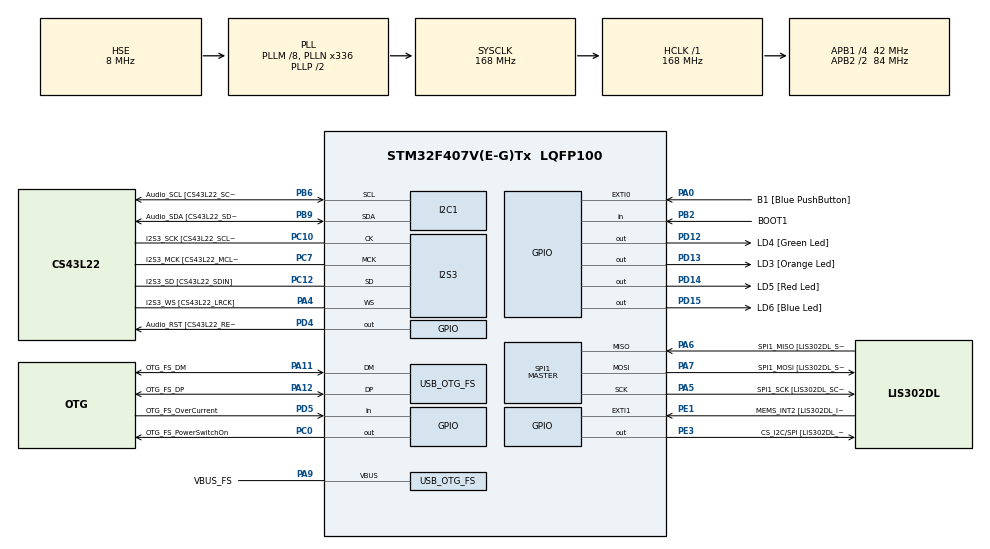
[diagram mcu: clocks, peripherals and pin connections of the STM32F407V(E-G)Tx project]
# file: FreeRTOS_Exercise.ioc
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FREERTOS.Tasks01=LEDBlinkingTask,0,128,StartLEDBlinkingTask,Default,NULL,Dynamic,NULL,NULL
I2S3.AudioFreq-Half_Duplex_Master=I2S_AUDIOFREQ_96K
I2S3.ErrorAudioFreq=-2.34 %
I2S3.ErrorAudioFreq-Half_Duplex_Master=0.8 %
I2S3.FullDuplexMode=I2S_FULLDUPLEXMODE_DISABLE
I2S3.Instance=SPI$Index
I2S3.RealAudioFreq=93.75 KHz
I2S3.RealAudioFreq-Half_Duplex_Master=96.774 KHz
I2S3.VirtualMode=I2S_MODE_MASTER
Mcu.Family=STM32F4
Mcu.Name=STM32F407V(E-G)Tx
Mcu.Package=LQFP100
NVIC.OTG_FS_IRQn=true\:5\:0\:false\:false\:true\:true\:true
NVIC.PriorityGroup=NVIC_PRIORITYGROUP_4
NVIC.TIM1_UP_TIM10_IRQn=true\:0\:0\:false\:false\:true\:false\:false
NVIC.TimeBase=TIM1_UP_TIM10_IRQn
NVIC.TimeBaseIP=TIM1
PA0-WKUP.GPIO_Label=B1 [Blue PushButton]
PA0-WKUP.GPIO_ModeDefaultEXTI=GPIO_MODE_EVT_RISING
PA0-WKUP.GPIO_PuPd=GPIO_NOPULL
PA0-WKUP.Signal=GPXTI0
PA10.GPIO_Label=OTG_FS_ID
PA10.GPIO_Mode=GPIO_MODE_AF_PP
PA10.GPIO_PuPd=GPIO_NOPULL
PA10.GPIO_Speed=GPIO_SPEED_FREQ_LOW
PA10.Signal=USB_OTG_FS_ID
PA11.GPIO_Label=OTG_FS_DM
PA11.GPIO_Mode=GPIO_MODE_AF_PP
PA11.GPIO_PuPd=GPIO_NOPULL
PA11.GPIO_Speed=GPIO_SPEED_FREQ_LOW
PA11.Mode=Host_Only
PA11.Signal=USB_OTG_FS_DM
PA12.GPIO_Label=OTG_FS_DP
PA12.GPIO_Mode=GPIO_MODE_AF_PP
PA12.GPIO_PuPd=GPIO_NOPULL
PA12.GPIO_Speed=GPIO_SPEED_FREQ_LOW
PA12.Mode=Host_Only
PA12.Signal=USB_OTG_FS_DP
PA13.GPIO_Label=SWDIO
PA13.Mode=Serial_Wire
PA13.Signal=SYS_JTMS-SWDIO
PA14.GPIO_Label=SWCLK
PA14.Mode=Serial_Wire
PA14.Signal=SYS_JTCK-SWCLK
PA4.GPIO_Label=I2S3_WS [CS43L22_LRCK]
PA4.GPIO_Mode=GPIO_MODE_AF_PP
PA4.GPIO_PuPd=GPIO_NOPULL
PA4.GPIO_Speed=GPIO_SPEED_FREQ_LOW
PA4.Mode=Half_Duplex_Master
PA4.Signal=I2S3_WS
PA5.GPIO_Label=SPI1_SCK [LIS302DL_SCL/SPC]
PA5.GPIO_Mode=GPIO_MODE_AF_PP
PA5.GPIO_PuPd=GPIO_NOPULL
PA5.GPIO_Speed=GPIO_SPEED_FREQ_LOW
PA5.Mode=Full_Duplex_Master
PA5.Signal=SPI1_SCK
PA6.GPIO_Label=SPI1_MISO [LIS302DL_SDO]
PA6.GPIO_Mode=GPIO_MODE_AF_PP
PA6.GPIO_PuPd=GPIO_NOPULL
PA6.GPIO_Speed=GPIO_SPEED_FREQ_LOW
PA6.Mode=Full_Duplex_Master
PA6.Signal=SPI1_MISO
PA7.GPIO_Label=SPI1_MOSI [LIS302DL_SDA/SDI/SDO]
PA7.GPIO_Mode=GPIO_MODE_AF_PP
PA7.GPIO_PuPd=GPIO_NOPULL
PA7.GPIO_Speed=GPIO_SPEED_FREQ_LOW
PA7.Mode=Full_Duplex_Master
PA7.Signal=SPI1_MOSI
PA9.GPIO_Label=VBUS_FS
PA9.GPIO_Mode=GPIO_MODE_INPUT
PA9.GPIO_PuPd=GPIO_NOPULL
PA9.Mode=Activate_VBUS
PA9.Signal=USB_OTG_FS_VBUS
PB10.GPIO_Label=CLK_IN [MP45DT02_CLK]
PB10.GPIO_Mode=GPIO_MODE_AF_PP
PB10.GPIO_PuPd=GPIO_NOPULL
PB10.GPIO_Speed=GPIO_SPEED_FREQ_LOW
PB10.Signal=I2S2_CK
PB2.GPIO_Label=BOOT1
PB2.GPIO_Mode=GPIO_MODE_INPUT
PB2.GPIO_PuPd=GPIO_NOPULL
PB2.Signal=GPIO_Input
PB3.GPIO_Label=SWO
PB3.Signal=SYS_JTDO-SWO
PB6.GPIO_Label=Audio_SCL [CS43L22_SCL]
PB6.GPIO_Mode=GPIO_MODE_AF_OD
PB6.GPIO_PuPd=GPIO_NOPULL
PB6.GPIO_Speed=GPIO_SPEED_FREQ_LOW
PB6.Mode=I2C
PB6.Signal=I2C1_SCL
PB9.GPIO_Label=Audio_SDA [CS43L22_SDA]
PB9.GPIO_Mode=GPIO_MODE_AF_OD
PB9.GPIO_PuPd=GPIO_NOPULL
PB9.GPIO_Speed=GPIO_SPEED_FREQ_LOW
PB9.Mode=I2C
PB9.Signal=I2C1_SDA
PC0.GPIO_Label=OTG_FS_PowerSwitchOn
PC0.GPIO_PuPd=GPIO_NOPULL
PC0.GPIO_Speed=GPIO_SPEED_FREQ_LOW
PC0.PinState=GPIO_PIN_SET
PC0.Signal=GPIO_Output
PC10.GPIO_Label=I2S3_SCK [CS43L22_SCLK]
PC10.GPIO_Mode=GPIO_MODE_AF_PP
PC10.GPIO_PuPd=GPIO_NOPULL
PC10.GPIO_Speed=GPIO_SPEED_FREQ_LOW
PC10.Mode=Half_Duplex_Master
PC10.Signal=I2S3_CK
PC12.GPIO_Label=I2S3_SD [CS43L22_SDIN]
PC12.GPIO_Mode=GPIO_MODE_AF_PP
PC12.GPIO_PuPd=GPIO_NOPULL
PC12.GPIO_Speed=GPIO_SPEED_FREQ_LOW
PC12.Mode=Half_Duplex_Master
PC12.Signal=I2S3_SD
PC14-OSC32_IN.GPIO_Label=PC14-OSC32_IN
PC14-OSC32_IN.Mode=LSE-External-Oscillator
PC14-OSC32_IN.Signal=RCC_OSC32_IN
PC15-OSC32_OUT.GPIO_Label=PC15-OSC32_OUT
PC15-OSC32_OUT.Mode=LSE-External-Oscillator
PC15-OSC32_OUT.Signal=RCC_OSC32_OUT
PC3.GPIO_Label=PDM_OUT [MP45DT02_DOUT]
PC3.GPIO_Mode=GPIO_MODE_AF_PP
PC3.GPIO_PuPd=GPIO_NOPULL
PC3.GPIO_Speed=GPIO_SPEED_FREQ_LOW
PC3.Signal=I2S2_SD
PC7.GPIO_Label=I2S3_MCK [CS43L22_MCLK]
PC7.GPIO_Mode=GPIO_MODE_AF_PP
PC7.GPIO_PuPd=GPIO_NOPULL
PC7.GPIO_Speed=GPIO_SPEED_FREQ_LOW
PC7.Mode=Master_Clock_Activated
PC7.Signal=I2S3_MCK
PD12.GPIO_Label=LD4 [Green Led]
PD12.GPIO_PuPd=GPIO_NOPULL
PD12.GPIO_Speed=GPIO_SPEED_FREQ_LOW
PD12.Signal=GPIO_Output
PD13.GPIO_Label=LD3 [Orange Led]
PD13.GPIO_PuPd=GPIO_NOPULL
PD13.GPIO_Speed=GPIO_SPEED_FREQ_LOW
PD13.Signal=GPIO_Output
PD14.GPIO_Label=LD5 [Red Led]
PD14.GPIO_PuPd=GPIO_NOPULL
PD14.GPIO_Speed=GPIO_SPEED_FREQ_LOW
PD14.Signal=GPIO_Output
PD15.GPIO_Label=LD6 [Blue Led]
PD15.GPIO_PuPd=GPIO_NOPULL
PD15.GPIO_Speed=GPIO_SPEED_FREQ_LOW
PD15.Signal=GPIO_Output
PD4.GPIO_Label=Audio_RST [CS43L22_RESET]
PD4.GPIO_PuPd=GPIO_NOPULL
PD4.GPIO_Speed=GPIO_SPEED_FREQ_LOW
PD4.Signal=GPIO_Output
PD5.GPIO_Label=OTG_FS_OverCurrent
PD5.GPIO_Mode=GPIO_MODE_INPUT
PD5.GPIO_PuPd=GPIO_NOPULL
PD5.Signal=GPIO_Input
PE1.GPIO_Label=MEMS_INT2 [LIS302DL_INT2]
PE1.GPIO_ModeDefaultEXTI=GPIO_MODE_EVT_RISING
PE1.GPIO_PuPd=GPIO_NOPULL
PE1.Signal=GPXTI1
PE3.GPIO_Label=CS_I2C/SPI [LIS302DL_CS_I2C/SPI]
PE3.GPIO_PuPd=GPIO_NOPULL
PE3.GPIO_Speed=GPIO_SPEED_FREQ_LOW
PE3.Signal=GPIO_Output
PH0-OSC_IN.GPIO_Label=PH0-OSC_IN
PH0-OSC_IN.Mode=HSE-External-Oscillator
PH0-OSC_IN.Signal=RCC_OSC_IN
PH1-OSC_OUT.GPIO_Label=PH1-OSC_OUT
PH1-OSC_OUT.Mode=HSE-External-Oscillator
PH1-OSC_OUT.Signal=RCC_OSC_OUT
ProjectManager.HeapSize=0x200
ProjectManager.StackSize=0x400
ProjectManager.TargetToolchain=SW4STM32
RCC.48MHZClocksFreq_Value=48000000
RCC.AHBFreq_Value=168000000
RCC.APB1CLKDivider=RCC_HCLK_DIV4
RCC.APB1Freq_Value=42000000
RCC.APB1TimFreq_Value=84000000
RCC.APB2CLKDivider=RCC_HCLK_DIV2
RCC.APB2Freq_Value=84000000
RCC.APB2TimFreq_Value=168000000
RCC.CortexFreq_Value=168000000
RCC.HCLKFreq_Value=168000000
RCC.HSE_VALUE=8000000
RCC.HSI_VALUE=16000000
RCC.PLLM=8
RCC.PLLN=336
RCC.PLLQ=7
RCC.SYSCLKFreq_VALUE=168000000
RCC.SYSCLKSource=RCC_SYSCLKSOURCE_PLLCLK
RCC.VCOOutputFreq_Value=336000000
SPI1.BaudRatePrescaler-Full_Duplex_Master=SPI_BAUDRATEPRESCALER_2
SPI1.CalculateBaudRate-Full_Duplex_Master=42.0 MBits/s
SPI1.Direction=SPI_DIRECTION_2LINES
SPI1.Mode=SPI_MODE_MASTER
SPI1.Mode-Full_Duplex_Master=SPI_MODE_MASTER
SPI1.VirtualType=VM_MASTER
USB_HOST.BSP.number=1
USB_HOST.USBH_HandleTypeDef-CDC_FS=hUsbHostFS
USB_HOST.VirtualModeFS=Cdc
USB_HOST0.BSP.STBoard=false
USB_HOST0.BSP.api=Unknown
USB_HOST0.BSP.i2caddr=0
USB_HOST0.BSP.i2creg=0
USB_HOST0.BSP.instance=PC0
USB_HOST0.BSP.ip=GPIO
USB_HOST0.BSP.mode=Output
USB_HOST0.BSP.name=Drive_VBUS_FS
USB_HOST0.BSP.solution=PC0
USB_OTG_FS.VirtualMode=Host_Only
USB_OTG_FS.phy_itface=HCD_PHY_EMBEDDED
VP_FREERTOS_VS_ENABLE.Mode=Enabled
VP_SYS_VS_tim1.Mode=TIM1
VP_USB_HOST_VS_USB_HOST_CDC_FS.Mode=CDC_FS
board=STM32F4DISCOVERY

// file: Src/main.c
/* USER CODE BEGIN Header */
/**
  ******************************************************************************
  * @file           : main.c
  * @brief          : Main program body
  ******************************************************************************
  * This notice applies to any and all portions of this file
  * that are not between comment pairs USER CODE BEGIN and
  * USER CODE END. Other portions of this file, whether
  * inserted by the user or by software development tools
  * are owned by their respective copyright owners.
  *
  * Copyright (c) 2019 STMicroelectronics International N.V.
  * All rights reserved.
  *
  * Redistribution and use in source and binary forms, with or without
  * modification, are permitted, provided that the following conditions are met:
  *
  * 1. Redistribution of source code must retain the above copyright notice,
  *    this list of conditions and the following disclaimer.
  * 2. Redistributions in binary form must reproduce the above copyright notice,
  *    this list of conditions and the following disclaimer in the documentation
  *    and/or other materials provided with the distribution.
  * 3. Neither the name of STMicroelectronics nor the names of other
  *    contributors to this software may be used to endorse or promote products
  *    derived from this software without specific written permission.
  * 4. This software, including modifications and/or derivative works of this
  *    software, must execute solely and exclusively on microcontroller or
  *    microprocessor devices manufactured by or for STMicroelectronics.
  * 5. Redistribution and use of this software other than as permitted under
  *    this license is void and will automatically terminate your rights under
  *    this license.
  *
  * THIS SOFTWARE IS PROVIDED BY STMICROELECTRONICS AND CONTRIBUTORS "AS IS"
  * AND ANY EXPRESS, IMPLIED OR STATUTORY WARRANTIES, INCLUDING, BUT NOT
  * LIMITED TO, THE IMPLIED WARRANTIES OF MERCHANTABILITY, FITNESS FOR A
  * PARTICULAR PURPOSE AND NON-INFRINGEMENT OF THIRD PARTY INTELLECTUAL PROPERTY
  * RIGHTS ARE DISCLAIMED TO THE FULLEST EXTENT PERMITTED BY LAW. IN NO EVENT
  * SHALL STMICROELECTRONICS OR CONTRIBUTORS BE LIABLE FOR ANY DIRECT, INDIRECT,
  * INCIDENTAL, SPECIAL, EXEMPLARY, OR CONSEQUENTIAL DAMAGES (INCLUDING, BUT NOT
  * LIMITED TO, PROCUREMENT OF SUBSTITUTE GOODS OR SERVICES; LOSS OF USE, DATA,
  * OR PROFITS; OR BUSINESS INTERRUPTION) HOWEVER CAUSED AND ON ANY THEORY OF
  * LIABILITY, WHETHER IN CONTRACT, STRICT LIABILITY, OR TORT (INCLUDING
  * NEGLIGENCE OR OTHERWISE) ARISING IN ANY WAY OUT OF THE USE OF THIS SOFTWARE,
  * EVEN IF ADVISED OF THE POSSIBILITY OF SUCH DAMAGE.
  *
  ******************************************************************************
  */
/* USER CODE END Header */

#include "main.h"
#include "cmsis_os.h"
#include "usb_host.h"

/* USER CODE BEGIN Includes */
#include <stm32f407xx.h>
/* USER CODE END Includes */

I2C_HandleTypeDef hi2c1;

I2S_HandleTypeDef hi2s3;

SPI_HandleTypeDef hspi1;

osThreadId LEDBlinkingTaskHandle;

void SystemClock_Config(void);
static void MX_GPIO_Init(void);
static void MX_I2C1_Init(void);
static void MX_I2S3_Init(void);
static void MX_SPI1_Init(void);
void StartLEDBlinkingTask(void const * argument);

int main(void)
{

  /* MCU Configuration--------------------------------------------------------*/

  /* Reset of all peripherals, Initializes the Flash interface and the Systick. */
  HAL_Init();

  /* Configure the system clock */
  SystemClock_Config();

  /* Initialize all configured peripherals */
  MX_GPIO_Init();
  MX_I2C1_Init();
  MX_I2S3_Init();
  MX_SPI1_Init();

  /* Create the thread(s) */
  /* definition and creation of LEDBlinkingTask */
  osThreadDef(LEDBlinkingTask, StartLEDBlinkingTask, osPriorityNormal, 0, 128);
  LEDBlinkingTaskHandle = osThreadCreate(osThread(LEDBlinkingTask), NULL);

  /* Start scheduler */
  osKernelStart();

  /* We should never get here as control is now taken by the scheduler */

  /* Infinite loop */
  while (1)
  {

  }
}

void SystemClock_Config(void)
{
  RCC_OscInitTypeDef RCC_OscInitStruct = {0};
  RCC_ClkInitTypeDef RCC_ClkInitStruct = {0};
  RCC_PeriphCLKInitTypeDef PeriphClkInitStruct = {0};

  /**Configure the main internal regulator output voltage
  */
  __HAL_RCC_PWR_CLK_ENABLE();
  __HAL_PWR_VOLTAGESCALING_CONFIG(PWR_REGULATOR_VOLTAGE_SCALE1);
  /**Initializes the CPU, AHB and APB busses clocks
  */
  RCC_OscInitStruct.OscillatorType = RCC_OSCILLATORTYPE_HSE;
  RCC_OscInitStruct.HSEState = RCC_HSE_ON;
  RCC_OscInitStruct.PLL.PLLState = RCC_PLL_ON;
  RCC_OscInitStruct.PLL.PLLSource = RCC_PLLSOURCE_HSE;
  RCC_OscInitStruct.PLL.PLLM = 8;
  RCC_OscInitStruct.PLL.PLLN = 336;
  RCC_OscInitStruct.PLL.PLLP = RCC_PLLP_DIV2;
  RCC_OscInitStruct.PLL.PLLQ = 7;
  if (HAL_RCC_OscConfig(&RCC_OscInitStruct) != HAL_OK)
  {
    Error_Handler();
  }
  /**Initializes the CPU, AHB and APB busses clocks
  */
  RCC_ClkInitStruct.ClockType = RCC_CLOCKTYPE_HCLK|RCC_CLOCKTYPE_SYSCLK
                              |RCC_CLOCKTYPE_PCLK1|RCC_CLOCKTYPE_PCLK2;
  RCC_ClkInitStruct.SYSCLKSource = RCC_SYSCLKSOURCE_PLLCLK;
  RCC_ClkInitStruct.AHBCLKDivider = RCC_SYSCLK_DIV1;
  RCC_ClkInitStruct.APB1CLKDivider = RCC_HCLK_DIV4;
  RCC_ClkInitStruct.APB2CLKDivider = RCC_HCLK_DIV2;

  if (HAL_RCC_ClockConfig(&RCC_ClkInitStruct, FLASH_LATENCY_5) != HAL_OK)
  {
    Error_Handler();
  }
  PeriphClkInitStruct.PeriphClockSelection = RCC_PERIPHCLK_I2S;
  PeriphClkInitStruct.PLLI2S.PLLI2SN = 192;
  PeriphClkInitStruct.PLLI2S.PLLI2SR = 2;
  if (HAL_RCCEx_PeriphCLKConfig(&PeriphClkInitStruct) != HAL_OK)
  {
    Error_Handler();
  }
}

static void MX_I2C1_Init(void)
{

  hi2c1.Instance = I2C1;
  hi2c1.Init.ClockSpeed = 100000;
  hi2c1.Init.DutyCycle = I2C_DUTYCYCLE_2;
  hi2c1.Init.OwnAddress1 = 0;
  hi2c1.Init.AddressingMode = I2C_ADDRESSINGMODE_7BIT;
  hi2c1.Init.DualAddressMode = I2C_DUALADDRESS_DISABLE;
  hi2c1.Init.OwnAddress2 = 0;
  hi2c1.Init.GeneralCallMode = I2C_GENERALCALL_DISABLE;
  hi2c1.Init.NoStretchMode = I2C_NOSTRETCH_DISABLE;
  if (HAL_I2C_Init(&hi2c1) != HAL_OK)
  {
    Error_Handler();
  }

}

static void MX_I2S3_Init(void)
{

  hi2s3.Instance = SPI3;
  hi2s3.Init.Mode = I2S_MODE_MASTER_TX;
  hi2s3.Init.Standard = I2S_STANDARD_PHILIPS;
  hi2s3.Init.DataFormat = I2S_DATAFORMAT_16B;
  hi2s3.Init.MCLKOutput = I2S_MCLKOUTPUT_ENABLE;
  hi2s3.Init.AudioFreq = I2S_AUDIOFREQ_96K;
  hi2s3.Init.CPOL = I2S_CPOL_LOW;
  hi2s3.Init.ClockSource = I2S_CLOCK_PLL;
  hi2s3.Init.FullDuplexMode = I2S_FULLDUPLEXMODE_DISABLE;
  if (HAL_I2S_Init(&hi2s3) != HAL_OK)
  {
    Error_Handler();
  }

}

static void MX_SPI1_Init(void)
{

  /* SPI1 parameter configuration*/
  hspi1.Instance = SPI1;
  hspi1.Init.Mode = SPI_MODE_MASTER;
  hspi1.Init.Direction = SPI_DIRECTION_2LINES;
  hspi1.Init.DataSize = SPI_DATASIZE_8BIT;
  hspi1.Init.CLKPolarity = SPI_POLARITY_LOW;
  hspi1.Init.CLKPhase = SPI_PHASE_1EDGE;
  hspi1.Init.NSS = SPI_NSS_SOFT;
  hspi1.Init.BaudRatePrescaler = SPI_BAUDRATEPRESCALER_2;
  hspi1.Init.FirstBit = SPI_FIRSTBIT_MSB;
  hspi1.Init.TIMode = SPI_TIMODE_DISABLE;
  hspi1.Init.CRCCalculation = SPI_CRCCALCULATION_DISABLE;
  hspi1.Init.CRCPolynomial = 10;
  if (HAL_SPI_Init(&hspi1) != HAL_OK)
  {
    Error_Handler();
  }

}

static void MX_GPIO_Init(void)
{
  GPIO_InitTypeDef GPIO_InitStruct = {0};

  /* GPIO Ports Clock Enable */
  __HAL_RCC_GPIOE_CLK_ENABLE();
  __HAL_RCC_GPIOC_CLK_ENABLE();
  __HAL_RCC_GPIOH_CLK_ENABLE();
  __HAL_RCC_GPIOA_CLK_ENABLE();
  __HAL_RCC_GPIOB_CLK_ENABLE();
  __HAL_RCC_GPIOD_CLK_ENABLE();

  /*Configure GPIO pin Output Level */
  HAL_GPIO_WritePin(CS_I2C_SPI_GPIO_Port, CS_I2C_SPI_Pin, GPIO_PIN_RESET);

  /*Configure GPIO pin Output Level */
  HAL_GPIO_WritePin(OTG_FS_PowerSwitchOn_GPIO_Port, OTG_FS_PowerSwitchOn_Pin, GPIO_PIN_SET);

  /*Configure GPIO pin Output Level */
  HAL_GPIO_WritePin(GPIOD, LD4_Pin|LD3_Pin|LD5_Pin|LD6_Pin
                          |Audio_RST_Pin, GPIO_PIN_RESET);

  /*Configure GPIO pin : CS_I2C_SPI_Pin */
  GPIO_InitStruct.Pin = CS_I2C_SPI_Pin;
  GPIO_InitStruct.Mode = GPIO_MODE_OUTPUT_PP;
  GPIO_InitStruct.Pull = GPIO_NOPULL;
  GPIO_InitStruct.Speed = GPIO_SPEED_FREQ_LOW;
  HAL_GPIO_Init(CS_I2C_SPI_GPIO_Port, &GPIO_InitStruct);

  /*Configure GPIO pin : OTG_FS_PowerSwitchOn_Pin */
  GPIO_InitStruct.Pin = OTG_FS_PowerSwitchOn_Pin;
  GPIO_InitStruct.Mode = GPIO_MODE_OUTPUT_PP;
  GPIO_InitStruct.Pull = GPIO_NOPULL;
  GPIO_InitStruct.Speed = GPIO_SPEED_FREQ_LOW;
  HAL_GPIO_Init(OTG_FS_PowerSwitchOn_GPIO_Port, &GPIO_InitStruct);

  /*Configure GPIO pin : PDM_OUT_Pin */
  GPIO_InitStruct.Pin = PDM_OUT_Pin;
  GPIO_InitStruct.Mode = GPIO_MODE_AF_PP;
  GPIO_InitStruct.Pull = GPIO_NOPULL;
  GPIO_InitStruct.Speed = GPIO_SPEED_FREQ_LOW;
  GPIO_InitStruct.Alternate = GPIO_AF5_SPI2;
  HAL_GPIO_Init(PDM_OUT_GPIO_Port, &GPIO_InitStruct);

  /*Configure GPIO pin : B1_Pin */
  GPIO_InitStruct.Pin = B1_Pin;
  GPIO_InitStruct.Mode = GPIO_MODE_EVT_RISING;
  GPIO_InitStruct.Pull = GPIO_NOPULL;
  HAL_GPIO_Init(B1_GPIO_Port, &GPIO_InitStruct);

  /*Configure GPIO pin : BOOT1_Pin */
  GPIO_InitStruct.Pin = BOOT1_Pin;
  GPIO_InitStruct.Mode = GPIO_MODE_INPUT;
  GPIO_InitStruct.Pull = GPIO_NOPULL;
  HAL_GPIO_Init(BOOT1_GPIO_Port, &GPIO_InitStruct);

  /*Configure GPIO pin : CLK_IN_Pin */
  GPIO_InitStruct.Pin = CLK_IN_Pin;
  GPIO_InitStruct.Mode = GPIO_MODE_AF_PP;
  GPIO_InitStruct.Pull = GPIO_NOPULL;
  GPIO_InitStruct.Speed = GPIO_SPEED_FREQ_LOW;
  GPIO_InitStruct.Alternate = GPIO_AF5_SPI2;
  HAL_GPIO_Init(CLK_IN_GPIO_Port, &GPIO_InitStruct);

  /*Configure GPIO pins : LD4_Pin LD3_Pin LD5_Pin LD6_Pin
                           Audio_RST_Pin */
  GPIO_InitStruct.Pin = LD4_Pin|LD3_Pin|LD5_Pin|LD6_Pin
                          |Audio_RST_Pin;
  GPIO_InitStruct.Mode = GPIO_MODE_OUTPUT_PP;
  GPIO_InitStruct.Pull = GPIO_NOPULL;
  GPIO_InitStruct.Speed = GPIO_SPEED_FREQ_LOW;
  HAL_GPIO_Init(GPIOD, &GPIO_InitStruct);

  /*Configure GPIO pin : OTG_FS_OverCurrent_Pin */
  GPIO_InitStruct.Pin = OTG_FS_OverCurrent_Pin;
  GPIO_InitStruct.Mode = GPIO_MODE_INPUT;
  GPIO_InitStruct.Pull = GPIO_NOPULL;
  HAL_GPIO_Init(OTG_FS_OverCurrent_GPIO_Port, &GPIO_InitStruct);

  /*Configure GPIO pin : MEMS_INT2_Pin */
  GPIO_InitStruct.Pin = MEMS_INT2_Pin;
  GPIO_InitStruct.Mode = GPIO_MODE_EVT_RISING;
  GPIO_InitStruct.Pull = GPIO_NOPULL;
  HAL_GPIO_Init(MEMS_INT2_GPIO_Port, &GPIO_InitStruct);

}

void StartLEDBlinkingTask(void const * argument)
{
  /* init code for USB_HOST */
  MX_USB_HOST_Init();

  /* USER CODE BEGIN 5 */
  /* Infinite loop */
  int state = 0;
  for(;;)
  {
    if (state == 0) {
      HAL_GPIO_WritePin(GPIOD, GPIO_PIN_12, GPIO_PIN_SET);
      HAL_GPIO_WritePin(GPIOD, GPIO_PIN_13, GPIO_PIN_SET);
      HAL_GPIO_WritePin(GPIOD, GPIO_PIN_14, GPIO_PIN_SET);
      HAL_GPIO_WritePin(GPIOD, GPIO_PIN_15, GPIO_PIN_SET);
      state = 1;
    } else {
      HAL_GPIO_WritePin(GPIOD, GPIO_PIN_12, GPIO_PIN_RESET);
      HAL_GPIO_WritePin(GPIOD, GPIO_PIN_13, GPIO_PIN_RESET);
      HAL_GPIO_WritePin(GPIOD, GPIO_PIN_14, GPIO_PIN_RESET);
      HAL_GPIO_WritePin(GPIOD, GPIO_PIN_15, GPIO_PIN_RESET);
      state = 0;
    }
    osDelay(1000);

  }
  /* USER CODE END 5 */
}

void HAL_TIM_PeriodElapsedCallback(TIM_HandleTypeDef *htim)
{
  if (htim->Instance == TIM1) {
    HAL_IncTick();
  }
}

void Error_Handler(void)
{
}

/************************ (C) COPYRIGHT STMicroelectronics *****END OF FILE****/
